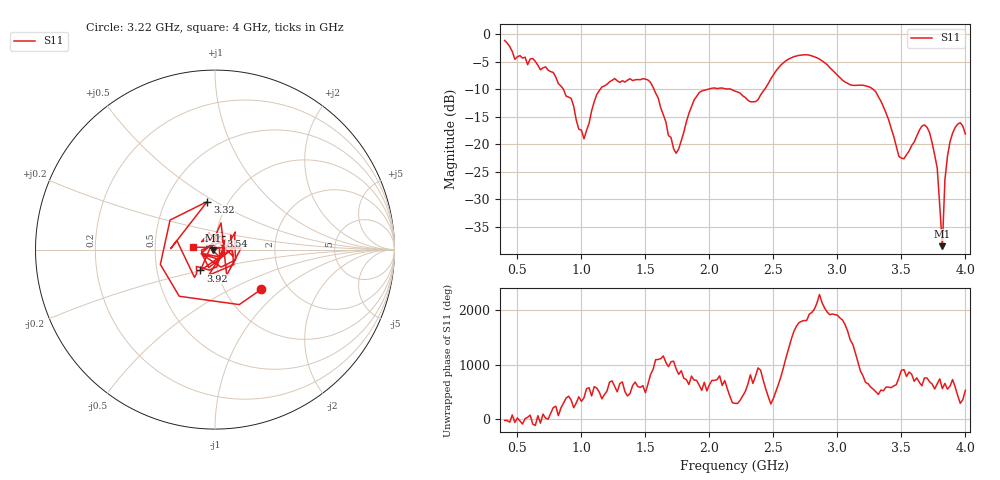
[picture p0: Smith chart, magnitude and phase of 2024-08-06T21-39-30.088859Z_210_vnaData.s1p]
!Created with skrf (http://scikit-rf.org).
# Hz S RI R 50.0
!freq ReS11 ImS11
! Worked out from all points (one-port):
!   181 points, 400 MHz to 4 GHz, reference 50 ohm
!   lowest |S11| = -38.5 dB at 3.82 GHz (marker M1), VSWR 1.02, Z = 48.9 - j0.477 ohm
!   |S11| at or under -10 dB: 860 MHz to 1.147 GHz (287.4 MHz wide, 28.6 % of centre); 1.567 GHz to 1.989 GHz (422.6 MHz wide, 23.8 % of centre); 3.279 GHz to end of sweep (the widest 3 of 4)
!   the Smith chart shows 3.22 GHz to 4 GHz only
!   S11 on the Smith chart (normalised r, x): 3.22 GHz: 1.47, -0.74; 3.32 GHz: 0.80, +0.46; 3.54 GHz: 1.05, +0.16; 3.92 GHz: 0.83, -0.20; 4 GHz: 0.78, +0.02
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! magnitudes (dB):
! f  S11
! 400 MHz  -1.1
! 480 MHz  -4.6
! 860 MHz  -10.0
! 1.02 GHz  -19.0
! 1.12 GHz  -11.0
! 1.3 GHz  -8.8
! 1.54 GHz  -8.8
! 1.72 GHz  -20.8
! 1.76 GHz  -20.8
! 1.92 GHz  -10.6
! 2.2 GHz  -10.3
! 2.36 GHz  -12.2
! 2.66 GHz  -4.1
! 2.86 GHz  -4.5
! 3.1 GHz  -9.2
! 3.22 GHz  -9.4
! 3.32 GHz  -11.3
! 3.48 GHz  -22.2
! 3.54 GHz  -21.9
! 3.56 GHz  -21.2
! 3.66 GHz  -16.7
! 3.72 GHz  -17.9
! 3.78 GHz  -24.3
! 3.82 GHz  -38.5
! 3.84 GHz  -26.4
! 3.88 GHz  -19.5
! 3.92 GHz  -16.9
! 4 GHz  -18.1
